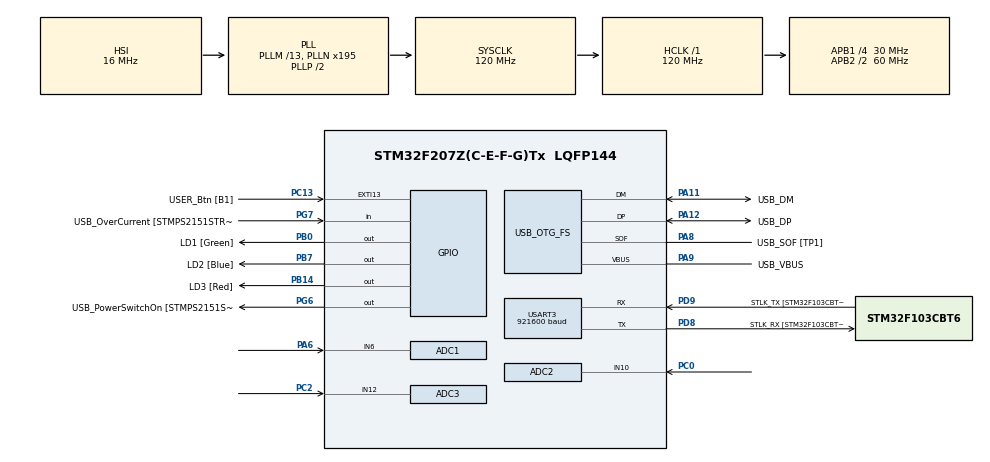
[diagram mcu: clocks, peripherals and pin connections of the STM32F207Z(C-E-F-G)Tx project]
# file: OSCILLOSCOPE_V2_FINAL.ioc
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ADC1.Channel-0\#ChannelRegularConversion=ADC_CHANNEL_6
ADC1.DMAContinuousRequests=ENABLE
ADC1.ExternalTrigConv=ADC_EXTERNALTRIGCONV_T2_TRGO
ADC1.Mode=ADC_TRIPLEMODE_REGSIMULT
ADC1.NbrOfConversionFlag=1
ADC1.Rank-0\#ChannelRegularConversion=1
ADC1.Resolution=ADC_RESOLUTION_12B
ADC1.SamplingTime-0\#ChannelRegularConversion=ADC_SAMPLETIME_3CYCLES
ADC1.master=1
ADC2.Channel-0\#ChannelRegularConversion=ADC_CHANNEL_10
ADC2.DMAAccessMode=ADC_DMAACCESSMODE_1
ADC2.Mode=ADC_TRIPLEMODE_REGSIMULT
ADC2.NbrOfConversionFlag=1
ADC2.Rank-0\#ChannelRegularConversion=1
ADC2.SamplingTime-0\#ChannelRegularConversion=ADC_SAMPLETIME_3CYCLES
ADC3.Channel-0\#ChannelRegularConversion=ADC_CHANNEL_12
ADC3.DMAAccessMode=ADC_DMAACCESSMODE_1
ADC3.Mode=ADC_TRIPLEMODE_REGSIMULT
ADC3.NbrOfConversionFlag=1
ADC3.Rank-0\#ChannelRegularConversion=1
ADC3.SamplingTime-0\#ChannelRegularConversion=ADC_SAMPLETIME_3CYCLES
Dma.ADC1.0.Direction=DMA_PERIPH_TO_MEMORY
Dma.ADC1.0.FIFOMode=DMA_FIFOMODE_DISABLE
Dma.ADC1.0.Instance=DMA2_Stream0
Dma.ADC1.0.MemDataAlignment=DMA_MDATAALIGN_HALFWORD
Dma.ADC1.0.MemInc=DMA_MINC_ENABLE
Dma.ADC1.0.Mode=DMA_CIRCULAR
Dma.ADC1.0.PeriphDataAlignment=DMA_PDATAALIGN_HALFWORD
Dma.ADC1.0.PeriphInc=DMA_PINC_DISABLE
Dma.ADC1.0.Priority=DMA_PRIORITY_LOW
Dma.Request0=ADC1
Dma.Request1=USART3_TX
Dma.USART3_TX.1.Direction=DMA_MEMORY_TO_PERIPH
Dma.USART3_TX.1.FIFOMode=DMA_FIFOMODE_DISABLE
Dma.USART3_TX.1.Instance=DMA1_Stream3
Dma.USART3_TX.1.MemDataAlignment=DMA_MDATAALIGN_BYTE
Dma.USART3_TX.1.MemInc=DMA_MINC_ENABLE
Dma.USART3_TX.1.Mode=DMA_NORMAL
Dma.USART3_TX.1.PeriphDataAlignment=DMA_PDATAALIGN_BYTE
Dma.USART3_TX.1.PeriphInc=DMA_PINC_DISABLE
Dma.USART3_TX.1.Priority=DMA_PRIORITY_LOW
Mcu.Family=STM32F2
Mcu.Name=STM32F207Z(C-E-F-G)Tx
Mcu.Package=LQFP144
NVIC.DMA1_Stream3_IRQn=true\:0\:0\:false\:false\:true\:false\:true\:true
NVIC.DMA2_Stream0_IRQn=true\:0\:0\:false\:false\:true\:false\:true\:true
NVIC.PriorityGroup=NVIC_PRIORITYGROUP_4
NVIC.USART3_IRQn=true\:0\:0\:false\:false\:true\:true\:true\:true
PA1.GPIO_Label=RMII_REF_CLK [LAN8742A-CZ-TR_REFCLK0]
PA1.Signal=ETH_REF_CLK
PA10.GPIO_Label=USB_ID
PA10.Signal=USB_OTG_FS_ID
PA11.GPIO_Label=USB_DM
PA11.Mode=Device_Only
PA11.Signal=USB_OTG_FS_DM
PA12.GPIO_Label=USB_DP
PA12.Mode=Device_Only
PA12.Signal=USB_OTG_FS_DP
PA13.GPIO_Label=TMS
PA13.Mode=Serial_Wire
PA13.Signal=SYS_JTMS-SWDIO
PA14.GPIO_Label=TCK
PA14.Mode=Serial_Wire
PA14.Signal=SYS_JTCK-SWCLK
PA2.GPIO_Label=RMII_MDIO [LAN8742A-CZ-TR_MDIO]
PA2.Signal=ETH_MDIO
PA6.Signal=ADCx_IN6
PA7.GPIO_Label=RMII_CRS_DV [LAN8742A-CZ-TR_CRS_DV]
PA7.Signal=ETH_CRS_DV
PA8.GPIO_Label=USB_SOF [TP1]
PA8.Mode=Activate_SOF_FS
PA8.Signal=USB_OTG_FS_SOF
PA9.GPIO_Label=USB_VBUS
PA9.Mode=Activate_VBUS
PA9.Signal=USB_OTG_FS_VBUS
PB0.GPIO_Label=LD1 [Green]
PB0.Signal=GPIO_Output
PB13.GPIO_Label=RMII_TXD1 [LAN8742A-CZ-TR_TXD1]
PB13.Signal=ETH_TXD1
PB14.GPIO_Label=LD3 [Red]
PB14.Signal=GPIO_Output
PB3.GPIO_Label=SWO
PB3.Signal=SYS_JTDO-SWO
PB7.GPIO_Label=LD2 [Blue]
PB7.Signal=GPIO_Output
PC0.Signal=ADCx_IN10
PC1.GPIO_Label=RMII_MDC [LAN8742A-CZ-TR_MDC]
PC1.Signal=ETH_MDC
PC13.GPIO_Label=USER_Btn [B1]
PC13.Signal=GPXTI13
PC14-OSC32_IN.Mode=LSE-External-Oscillator
PC14-OSC32_IN.Signal=RCC_OSC32_IN
PC15-OSC32_OUT.Mode=LSE-External-Oscillator
PC15-OSC32_OUT.Signal=RCC_OSC32_OUT
PC2.Signal=ADCx_IN12
PC4.GPIO_Label=RMII_RXD0 [LAN8742A-CZ-TR_RXD0]
PC4.Signal=ETH_RXD0
PC5.GPIO_Label=RMII_RXD1 [LAN8742A-CZ-TR_RXD1]
PC5.Signal=ETH_RXD1
PD8.GPIO_Label=STLK_RX [STM32F103CBT6_PA2]
PD8.Mode=Asynchronous
PD8.Signal=USART3_TX
PD9.GPIO_Label=STLK_TX [STM32F103CBT6_PA3]
PD9.Mode=Asynchronous
PD9.Signal=USART3_RX
PG11.GPIO_Label=RMII_TX_EN [LAN8742A-CZ-TR_TXEN]
PG11.Signal=ETH_TX_EN
PG13.GPIO_Label=RMII_TXD0 [LAN8742A-CZ-TR_TXD0]
PG13.Signal=ETH_TXD0
PG6.GPIO_Label=USB_PowerSwitchOn [STMPS2151STR_EN]
PG6.Signal=GPIO_Output
PG7.GPIO_Label=USB_OverCurrent [STMPS2151STR_FAULT]
PG7.Signal=GPIO_Input
PH0-OSC_IN.GPIO_Label=MCO [STM32F103CBT6_PA8]
PH0-OSC_IN.Mode=HSE-External-Clock-Source
PH0-OSC_IN.Signal=RCC_OSC_IN
PH1-OSC_OUT.Mode=HSE-External-Clock-Source
PH1-OSC_OUT.Signal=RCC_OSC_OUT
ProjectManager.HeapSize=0x200
ProjectManager.StackSize=0x400
ProjectManager.TargetToolchain=STM32CubeIDE
RCC.48MHZClocksFreq_Value=48000000
RCC.AHBFreq_Value=120000000
RCC.APB1CLKDivider=RCC_HCLK_DIV4
RCC.APB1Freq_Value=30000000
RCC.APB1TimFreq_Value=60000000
RCC.APB2CLKDivider=RCC_HCLK_DIV2
RCC.APB2Freq_Value=60000000
RCC.APB2TimFreq_Value=120000000
RCC.CortexFreq_Value=120000000
RCC.HCLKFreq_Value=120000000
RCC.HSE_VALUE=8000000
RCC.HSI_VALUE=16000000
RCC.PLLM=13
RCC.PLLMUL=RCC_PLL_MUL9
RCC.PLLN=195
RCC.PLLQ=5
RCC.PRESCALERUSB=RCC_USBCLKSOURCE_PLL_DIV1_5
RCC.SYSCLKFreq_VALUE=120000000
RCC.SYSCLKSource=RCC_SYSCLKSOURCE_PLLCLK
RCC.SYSCLKSourceVirtual=RCC_SYSCLKSOURCE_PLLCLK
RCC.USBFreq_Value=48000000
RCC.VCOOutputFreq_Value=240000000
SH.ADCx_IN10.0=ADC2_IN10,IN10
SH.ADCx_IN12.0=ADC3_IN12,IN12
SH.ADCx_IN6.0=ADC1_IN6,IN6
TIM2.Period=29
TIM2.TIM_MasterOutputTrigger=TIM_TRGO_UPDATE
USART3.BaudRate=921600
USART3.VirtualMode=VM_ASYNC
USB_OTG_FS.VirtualMode=Device_Only
VP_TIM2_VS_ClockSourceINT.Mode=Internal
board=NUCLEO-F207ZG

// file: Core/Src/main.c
/* USER CODE BEGIN Header */
/**
  ******************************************************************************
  * @file           : main.c
  * @brief          : Main program body
  ******************************************************************************
  * @attention
  *
  * Copyright (c) 2026 STMicroelectronics.
  * All rights reserved.
  *
  * This software is licensed under terms that can be found in the LICENSE file
  * in the root directory of this software component.
  * If no LICENSE file comes with this software, it is provided AS-IS.
  *
  ******************************************************************************
  */
/* USER CODE END Header */
#include "main.h"

/* USER CODE BEGIN PD */

#define ADC_BUFFER_SIZE 	8192
#define SAMPLES_PER_ADC    	1024
#define TRIGGER_LEVEL 		700
#define PRE_TRIGGER 		256
#define TRIGGER_HYST    	20
#define CHANNELS 			3
#define TRIGGER_CHANNEL 	1

#define TIM_CLOCK 			60000000
#define TOTAL_BUFFER_SIZE 	(ADC_BUFFER_SIZE * CHANNELS)
#define TOTAL_DATA_SENT 	(2 * SAMPLES_PER_ADC * CHANNELS + 3)

#define TIME_0_5MS   0x01
#define TIME_5MS     0x02
#define TIME_50MS    0x03
#define TIME_500MS   0x04
#define TIME_5S      0x05
//#define TIME_50S     0x06

/* USER CODE END PD */

ADC_HandleTypeDef hadc1;
ADC_HandleTypeDef hadc2;
ADC_HandleTypeDef hadc3;
DMA_HandleTypeDef hdma_adc1;

TIM_HandleTypeDef htim2;

UART_HandleTypeDef huart3;
DMA_HandleTypeDef hdma_usart3_tx;

PCD_HandleTypeDef hpcd_USB_OTG_FS;

/* USER CODE BEGIN PV */
uint16_t adcBuffer[TOTAL_BUFFER_SIZE];
uint16_t adc1Buffer[ADC_BUFFER_SIZE];
uint16_t adc2Buffer[ADC_BUFFER_SIZE];
uint16_t adc3Buffer[ADC_BUFFER_SIZE];

uint8_t uartBuffer[TOTAL_DATA_SENT];
uint8_t rxByte;

volatile uint8_t adcReady = 0;
volatile uint8_t adcBlock = 0;
volatile uint8_t uartBusy = 0;
volatile uint8_t currentTimeWindow = TIME_0_5MS;

/* USER CODE END PV */

void SystemClock_Config(void);
static void MX_GPIO_Init(void);
static void MX_DMA_Init(void);
static void MX_USART3_UART_Init(void);
static void MX_USB_OTG_FS_PCD_Init(void);
static void MX_ADC1_Init(void);
static void MX_TIM2_Init(void);
static void MX_ADC2_Init(void);
static void MX_ADC3_Init(void);
/* USER CODE BEGIN PFP */

int Find_Trigger(uint8_t block);
void Send_ADC_Buffer(int trigger);
void Separate_ADC_Buffers(uint8_t block);
void Set_Sample_Rate(void);

/* USER CODE END PFP */

int main(void)
{

  /* MCU Configuration--------------------------------------------------------*/

  /* Reset of all peripherals, Initializes the Flash interface and the Systick. */
  HAL_Init();

  /* Configure the system clock */
  SystemClock_Config();

  /* Initialize all configured peripherals */
  MX_GPIO_Init();
  MX_DMA_Init();
  MX_USART3_UART_Init();
  MX_USB_OTG_FS_PCD_Init();
  MX_ADC1_Init();
  MX_TIM2_Init();
  MX_ADC2_Init();
  MX_ADC3_Init();
  /* USER CODE BEGIN 2 */
  HAL_UART_Receive_IT(&huart3, &rxByte, 1);
  HAL_ADC_Start(&hadc3);
  HAL_ADC_Start(&hadc2);
  Set_Sample_Rate();
  HAL_ADCEx_MultiModeStart_DMA(&hadc1,
  								   (uint32_t *)adcBuffer,
								   TOTAL_BUFFER_SIZE);
  HAL_TIM_Base_Start(&htim2);

  /* USER CODE END 2 */

  /* Infinite loop */
  /* USER CODE BEGIN WHILE */
  while (1)
  {
	  if (adcReady)
	  {
	      adcReady = 0;
	      uint8_t block = adcBlock;

	      Separate_ADC_Buffers(block);

	      int trigger = Find_Trigger(block);

	      if (trigger >= 0)
	      {
	          Send_ADC_Buffer(trigger);
	      }

	      static uint32_t led_timer = 0;
	      if (HAL_GetTick() - led_timer >= 500)
	      {
	          led_timer = HAL_GetTick();
	          HAL_GPIO_TogglePin(LD1_GPIO_Port, LD1_Pin);
	      }
	  }
    /* USER CODE END WHILE */

  }
}

void SystemClock_Config(void)
{
  RCC_OscInitTypeDef RCC_OscInitStruct = {0};
  RCC_ClkInitTypeDef RCC_ClkInitStruct = {0};

  /** Initializes the RCC Oscillators according to the specified parameters
  * in the RCC_OscInitTypeDef structure.
  */
  RCC_OscInitStruct.OscillatorType = RCC_OSCILLATORTYPE_HSI;
  RCC_OscInitStruct.HSIState = RCC_HSI_ON;
  RCC_OscInitStruct.HSICalibrationValue = RCC_HSICALIBRATION_DEFAULT;
  RCC_OscInitStruct.PLL.PLLState = RCC_PLL_ON;
  RCC_OscInitStruct.PLL.PLLSource = RCC_PLLSOURCE_HSI;
  RCC_OscInitStruct.PLL.PLLM = 13;
  RCC_OscInitStruct.PLL.PLLN = 195;
  RCC_OscInitStruct.PLL.PLLP = RCC_PLLP_DIV2;
  RCC_OscInitStruct.PLL.PLLQ = 5;
  if (HAL_RCC_OscConfig(&RCC_OscInitStruct) != HAL_OK)
  {
    Error_Handler();
  }

  /** Initializes the CPU, AHB and APB buses clocks
  */
  RCC_ClkInitStruct.ClockType = RCC_CLOCKTYPE_HCLK|RCC_CLOCKTYPE_SYSCLK
                              |RCC_CLOCKTYPE_PCLK1|RCC_CLOCKTYPE_PCLK2;
  RCC_ClkInitStruct.SYSCLKSource = RCC_SYSCLKSOURCE_PLLCLK;
  RCC_ClkInitStruct.AHBCLKDivider = RCC_SYSCLK_DIV1;
  RCC_ClkInitStruct.APB1CLKDivider = RCC_HCLK_DIV4;
  RCC_ClkInitStruct.APB2CLKDivider = RCC_HCLK_DIV2;

  if (HAL_RCC_ClockConfig(&RCC_ClkInitStruct, FLASH_LATENCY_3) != HAL_OK)
  {
    Error_Handler();
  }
}

static void MX_ADC1_Init(void)
{

  ADC_MultiModeTypeDef multimode = {0};
  ADC_ChannelConfTypeDef sConfig = {0};

  /** Configure the global features of the ADC (Clock, Resolution, Data Alignment and number of conversion)
  */
  hadc1.Instance = ADC1;
  hadc1.Init.ClockPrescaler = ADC_CLOCK_SYNC_PCLK_DIV2;
  hadc1.Init.Resolution = ADC_RESOLUTION_12B;
  hadc1.Init.ScanConvMode = DISABLE;
  hadc1.Init.ContinuousConvMode = DISABLE;
  hadc1.Init.DiscontinuousConvMode = DISABLE;
  hadc1.Init.ExternalTrigConvEdge = ADC_EXTERNALTRIGCONVEDGE_RISING;
  hadc1.Init.ExternalTrigConv = ADC_EXTERNALTRIGCONV_T2_TRGO;
  hadc1.Init.DataAlign = ADC_DATAALIGN_RIGHT;
  hadc1.Init.NbrOfConversion = 1;
  hadc1.Init.DMAContinuousRequests = ENABLE;
  hadc1.Init.EOCSelection = ADC_EOC_SINGLE_CONV;
  if (HAL_ADC_Init(&hadc1) != HAL_OK)
  {
    Error_Handler();
  }

  /** Configure the ADC multi-mode
  */
  multimode.Mode = ADC_TRIPLEMODE_REGSIMULT;
  multimode.DMAAccessMode = ADC_DMAACCESSMODE_1;
  multimode.TwoSamplingDelay = ADC_TWOSAMPLINGDELAY_5CYCLES;
  if (HAL_ADCEx_MultiModeConfigChannel(&hadc1, &multimode) != HAL_OK)
  {
    Error_Handler();
  }

  /** Configure for the selected ADC regular channel its corresponding rank in the sequencer and its sample time.
  */
  sConfig.Channel = ADC_CHANNEL_6;
  sConfig.Rank = 1;
  sConfig.SamplingTime = ADC_SAMPLETIME_3CYCLES;
  if (HAL_ADC_ConfigChannel(&hadc1, &sConfig) != HAL_OK)
  {
    Error_Handler();
  }

}

static void MX_ADC2_Init(void)
{

  ADC_ChannelConfTypeDef sConfig = {0};

  /** Configure the global features of the ADC (Clock, Resolution, Data Alignment and number of conversion)
  */
  hadc2.Instance = ADC2;
  hadc2.Init.ClockPrescaler = ADC_CLOCK_SYNC_PCLK_DIV2;
  hadc2.Init.Resolution = ADC_RESOLUTION_12B;
  hadc2.Init.ScanConvMode = DISABLE;
  hadc2.Init.ContinuousConvMode = DISABLE;
  hadc2.Init.DiscontinuousConvMode = DISABLE;
  hadc2.Init.DataAlign = ADC_DATAALIGN_RIGHT;
  hadc2.Init.NbrOfConversion = 1;
  hadc2.Init.DMAContinuousRequests = DISABLE;
  hadc2.Init.EOCSelection = ADC_EOC_SINGLE_CONV;
  if (HAL_ADC_Init(&hadc2) != HAL_OK)
  {
    Error_Handler();
  }

  /** Configure for the selected ADC regular channel its corresponding rank in the sequencer and its sample time.
  */
  sConfig.Channel = ADC_CHANNEL_10;
  sConfig.Rank = 1;
  sConfig.SamplingTime = ADC_SAMPLETIME_3CYCLES;
  if (HAL_ADC_ConfigChannel(&hadc2, &sConfig) != HAL_OK)
  {
    Error_Handler();
  }

}

static void MX_ADC3_Init(void)
{

  ADC_ChannelConfTypeDef sConfig = {0};

  /** Configure the global features of the ADC (Clock, Resolution, Data Alignment and number of conversion)
  */
  hadc3.Instance = ADC3;
  hadc3.Init.ClockPrescaler = ADC_CLOCK_SYNC_PCLK_DIV2;
  hadc3.Init.Resolution = ADC_RESOLUTION_12B;
  hadc3.Init.ScanConvMode = DISABLE;
  hadc3.Init.ContinuousConvMode = DISABLE;
  hadc3.Init.DiscontinuousConvMode = DISABLE;
  hadc3.Init.DataAlign = ADC_DATAALIGN_RIGHT;
  hadc3.Init.NbrOfConversion = 1;
  hadc3.Init.DMAContinuousRequests = DISABLE;
  hadc3.Init.EOCSelection = ADC_EOC_SINGLE_CONV;
  if (HAL_ADC_Init(&hadc3) != HAL_OK)
  {
    Error_Handler();
  }

  /** Configure for the selected ADC regular channel its corresponding rank in the sequencer and its sample time.
  */
  sConfig.Channel = ADC_CHANNEL_12;
  sConfig.Rank = 1;
  sConfig.SamplingTime = ADC_SAMPLETIME_3CYCLES;
  if (HAL_ADC_ConfigChannel(&hadc3, &sConfig) != HAL_OK)
  {
    Error_Handler();
  }

}

static void MX_TIM2_Init(void)
{

  TIM_ClockConfigTypeDef sClockSourceConfig = {0};
  TIM_MasterConfigTypeDef sMasterConfig = {0};

  htim2.Instance = TIM2;
  htim2.Init.Prescaler = 0;
  htim2.Init.CounterMode = TIM_COUNTERMODE_UP;
  htim2.Init.Period = 29;
  htim2.Init.ClockDivision = TIM_CLOCKDIVISION_DIV1;
  htim2.Init.AutoReloadPreload = TIM_AUTORELOAD_PRELOAD_DISABLE;
  if (HAL_TIM_Base_Init(&htim2) != HAL_OK)
  {
    Error_Handler();
  }
  sClockSourceConfig.ClockSource = TIM_CLOCKSOURCE_INTERNAL;
  if (HAL_TIM_ConfigClockSource(&htim2, &sClockSourceConfig) != HAL_OK)
  {
    Error_Handler();
  }
  sMasterConfig.MasterOutputTrigger = TIM_TRGO_UPDATE;
  sMasterConfig.MasterSlaveMode = TIM_MASTERSLAVEMODE_DISABLE;
  if (HAL_TIMEx_MasterConfigSynchronization(&htim2, &sMasterConfig) != HAL_OK)
  {
    Error_Handler();
  }

}

static void MX_USART3_UART_Init(void)
{

  huart3.Instance = USART3;
  huart3.Init.BaudRate = 921600;
  huart3.Init.WordLength = UART_WORDLENGTH_8B;
  huart3.Init.StopBits = UART_STOPBITS_1;
  huart3.Init.Parity = UART_PARITY_NONE;
  huart3.Init.Mode = UART_MODE_TX_RX;
  huart3.Init.HwFlowCtl = UART_HWCONTROL_NONE;
  huart3.Init.OverSampling = UART_OVERSAMPLING_16;
  if (HAL_UART_Init(&huart3) != HAL_OK)
  {
    Error_Handler();
  }

}

static void MX_USB_OTG_FS_PCD_Init(void)
{

  hpcd_USB_OTG_FS.Instance = USB_OTG_FS;
  hpcd_USB_OTG_FS.Init.dev_endpoints = 4;
  hpcd_USB_OTG_FS.Init.speed = PCD_SPEED_FULL;
  hpcd_USB_OTG_FS.Init.dma_enable = DISABLE;
  hpcd_USB_OTG_FS.Init.phy_itface = PCD_PHY_EMBEDDED;
  hpcd_USB_OTG_FS.Init.Sof_enable = ENABLE;
  hpcd_USB_OTG_FS.Init.low_power_enable = DISABLE;
  hpcd_USB_OTG_FS.Init.vbus_sensing_enable = ENABLE;
  hpcd_USB_OTG_FS.Init.use_dedicated_ep1 = DISABLE;
  if (HAL_PCD_Init(&hpcd_USB_OTG_FS) != HAL_OK)
  {
    Error_Handler();
  }

}

static void MX_DMA_Init(void)
{

  /* DMA controller clock enable */
  __HAL_RCC_DMA2_CLK_ENABLE();
  __HAL_RCC_DMA1_CLK_ENABLE();

  /* DMA interrupt init */
  /* DMA1_Stream3_IRQn interrupt configuration */
  HAL_NVIC_SetPriority(DMA1_Stream3_IRQn, 0, 0);
  HAL_NVIC_EnableIRQ(DMA1_Stream3_IRQn);
  /* DMA2_Stream0_IRQn interrupt configuration */
  HAL_NVIC_SetPriority(DMA2_Stream0_IRQn, 0, 0);
  HAL_NVIC_EnableIRQ(DMA2_Stream0_IRQn);

}

static void MX_GPIO_Init(void)
{
  GPIO_InitTypeDef GPIO_InitStruct = {0};

  /* GPIO Ports Clock Enable */
  __HAL_RCC_GPIOC_CLK_ENABLE();
  __HAL_RCC_GPIOH_CLK_ENABLE();
  __HAL_RCC_GPIOA_CLK_ENABLE();
  __HAL_RCC_GPIOB_CLK_ENABLE();
  __HAL_RCC_GPIOD_CLK_ENABLE();
  __HAL_RCC_GPIOG_CLK_ENABLE();

  /*Configure GPIO pin Output Level */
  HAL_GPIO_WritePin(GPIOB, LD1_Pin|LD3_Pin|LD2_Pin, GPIO_PIN_RESET);

  /*Configure GPIO pin Output Level */
  HAL_GPIO_WritePin(USB_PowerSwitchOn_GPIO_Port, USB_PowerSwitchOn_Pin, GPIO_PIN_RESET);

  /*Configure GPIO pin : USER_Btn_Pin */
  GPIO_InitStruct.Pin = USER_Btn_Pin;
  GPIO_InitStruct.Mode = GPIO_MODE_IT_RISING;
  GPIO_InitStruct.Pull = GPIO_NOPULL;
  HAL_GPIO_Init(USER_Btn_GPIO_Port, &GPIO_InitStruct);

  /*Configure GPIO pins : RMII_MDC_Pin RMII_RXD0_Pin RMII_RXD1_Pin */
  GPIO_InitStruct.Pin = RMII_MDC_Pin|RMII_RXD0_Pin|RMII_RXD1_Pin;
  GPIO_InitStruct.Mode = GPIO_MODE_AF_PP;
  GPIO_InitStruct.Pull = GPIO_NOPULL;
  GPIO_InitStruct.Speed = GPIO_SPEED_FREQ_VERY_HIGH;
  GPIO_InitStruct.Alternate = GPIO_AF11_ETH;
  HAL_GPIO_Init(GPIOC, &GPIO_InitStruct);

  /*Configure GPIO pins : RMII_REF_CLK_Pin RMII_MDIO_Pin RMII_CRS_DV_Pin */
  GPIO_InitStruct.Pin = RMII_REF_CLK_Pin|RMII_MDIO_Pin|RMII_CRS_DV_Pin;
  GPIO_InitStruct.Mode = GPIO_MODE_AF_PP;
  GPIO_InitStruct.Pull = GPIO_NOPULL;
  GPIO_InitStruct.Speed = GPIO_SPEED_FREQ_VERY_HIGH;
  GPIO_InitStruct.Alternate = GPIO_AF11_ETH;
  HAL_GPIO_Init(GPIOA, &GPIO_InitStruct);

  /*Configure GPIO pins : LD1_Pin LD3_Pin LD2_Pin */
  GPIO_InitStruct.Pin = LD1_Pin|LD3_Pin|LD2_Pin;
  GPIO_InitStruct.Mode = GPIO_MODE_OUTPUT_PP;
  GPIO_InitStruct.Pull = GPIO_NOPULL;
  GPIO_InitStruct.Speed = GPIO_SPEED_FREQ_LOW;
  HAL_GPIO_Init(GPIOB, &GPIO_InitStruct);

  /*Configure GPIO pin : RMII_TXD1_Pin */
  GPIO_InitStruct.Pin = RMII_TXD1_Pin;
  GPIO_InitStruct.Mode = GPIO_MODE_AF_PP;
  GPIO_InitStruct.Pull = GPIO_NOPULL;
  GPIO_InitStruct.Speed = GPIO_SPEED_FREQ_VERY_HIGH;
  GPIO_InitStruct.Alternate = GPIO_AF11_ETH;
  HAL_GPIO_Init(RMII_TXD1_GPIO_Port, &GPIO_InitStruct);

  /*Configure GPIO pin : USB_PowerSwitchOn_Pin */
  GPIO_InitStruct.Pin = USB_PowerSwitchOn_Pin;
  GPIO_InitStruct.Mode = GPIO_MODE_OUTPUT_PP;
  GPIO_InitStruct.Pull = GPIO_NOPULL;
  GPIO_InitStruct.Speed = GPIO_SPEED_FREQ_LOW;
  HAL_GPIO_Init(USB_PowerSwitchOn_GPIO_Port, &GPIO_InitStruct);

  /*Configure GPIO pin : USB_OverCurrent_Pin */
  GPIO_InitStruct.Pin = USB_OverCurrent_Pin;
  GPIO_InitStruct.Mode = GPIO_MODE_INPUT;
  GPIO_InitStruct.Pull = GPIO_NOPULL;
  HAL_GPIO_Init(USB_OverCurrent_GPIO_Port, &GPIO_InitStruct);

  /*Configure GPIO pins : RMII_TX_EN_Pin RMII_TXD0_Pin */
  GPIO_InitStruct.Pin = RMII_TX_EN_Pin|RMII_TXD0_Pin;
  GPIO_InitStruct.Mode = GPIO_MODE_AF_PP;
  GPIO_InitStruct.Pull = GPIO_NOPULL;
  GPIO_InitStruct.Speed = GPIO_SPEED_FREQ_VERY_HIGH;
  GPIO_InitStruct.Alternate = GPIO_AF11_ETH;
  HAL_GPIO_Init(GPIOG, &GPIO_InitStruct);

}

/* USER CODE BEGIN 4 */
int Find_Trigger(uint8_t block)
{
    int half_start = block ? (ADC_BUFFER_SIZE / 2) : 0;
    int search_end = ADC_BUFFER_SIZE / 2 - (SAMPLES_PER_ADC - PRE_TRIGGER);

    static uint8_t armed = 1;

    for (int i = PRE_TRIGGER + 1; i < search_end; i++)
    {
        int index = half_start + i;

        uint16_t prev;
        uint16_t sample;

        if (TRIGGER_CHANNEL == 1)
        {
            prev   = adc1Buffer[index - 1];
            sample = adc1Buffer[index];
        }
        else if (TRIGGER_CHANNEL == 2)
        {
            prev   = adc2Buffer[index - 1];
            sample = adc2Buffer[index];
        }
        else
        {
            prev   = adc3Buffer[index - 1];
            sample = adc3Buffer[index];
        }

        if (!armed)
        {
            if (sample < (TRIGGER_LEVEL - TRIGGER_HYST))
                armed = 1;
        }
        else
        {
            if (prev < TRIGGER_LEVEL && sample >= TRIGGER_LEVEL)
            {
                armed = 0;
                return index;
            }
        }
    }

    return -1;
}

void Send_ADC_Buffer(int trigger)
{
    if (uartBusy)
        return;

    int start = trigger - PRE_TRIGGER;

    if (start < 0)
        start += ADC_BUFFER_SIZE;

    /* Header */
    uartBuffer[0] = 0xAA;
    uartBuffer[1] = 0x55;
    uartBuffer[2] = currentTimeWindow;

    //ADC1
    int offset = 3;

    for (int i = 0; i < SAMPLES_PER_ADC; i++)
    {
        int index = start + i;

        if (index >= ADC_BUFFER_SIZE)
            index -= ADC_BUFFER_SIZE;

        uint16_t value = adc1Buffer[index];

        uartBuffer[offset + i * 2]     = value & 0xFF;
        uartBuffer[offset + i * 2 + 1] = value >> 8;
    }

    //ADC2
    offset += SAMPLES_PER_ADC * 2;

    for (int i = 0; i < SAMPLES_PER_ADC; i++)
    {
        int index = start + i;

        if (index >= ADC_BUFFER_SIZE)
            index -= ADC_BUFFER_SIZE;

        uint16_t value = adc2Buffer[index];

        uartBuffer[offset + i * 2]     = value & 0xFF;
        uartBuffer[offset + i * 2 + 1] = value >> 8;
    }

    //ADC3
    offset += SAMPLES_PER_ADC * 2;

    for (int i = 0; i < SAMPLES_PER_ADC; i++)
    {
        int index = start + i;

        if (index >= ADC_BUFFER_SIZE)
            index -= ADC_BUFFER_SIZE;

        uint16_t value = adc3Buffer[index];

        uartBuffer[offset + i * 2]     = value & 0xFF;
        uartBuffer[offset + i * 2 + 1] = value >> 8;
    }

    //UART DMA
    uartBusy = 1;

    HAL_UART_Transmit_DMA(
        &huart3,
        uartBuffer,
        TOTAL_DATA_SENT
    );
}

void Separate_ADC_Buffers(uint8_t block)
{
    int raw_offset = block ? (TOTAL_BUFFER_SIZE / 2) : 0;
    int raw_count  = TOTAL_BUFFER_SIZE / 2;
    int ch_offset  = block ? (ADC_BUFFER_SIZE / 2) : 0;

    for (int i = 0; i < raw_count; i += 3)
    {
        int dst = ch_offset + i / 3;
        adc1Buffer[dst] = adcBuffer[raw_offset + i];
        adc2Buffer[dst] = adcBuffer[raw_offset + i + 1];
        adc3Buffer[dst] = adcBuffer[raw_offset + i + 2];
    }
}

	void Set_Sample_Rate(void)
{
	uint32_t sample_Rate;
	switch (currentTimeWindow)
	    {
	        case TIME_0_5MS:
	        	sample_Rate = 2000000;
	        	break;

	        case TIME_5MS:
	        	sample_Rate = 200000;
	        	break;

	        case TIME_50MS:
	        	sample_Rate = 20000;
	        	break;

	        case TIME_500MS:
	        	sample_Rate = 2000;
	        	break;

	        case TIME_5S:
	        	sample_Rate = 204;
	        	break;

	        default:
	        	sample_Rate = 2000000;
	        	break;

	    }

    uint32_t period = (TIM_CLOCK / sample_Rate) - 1;

    __HAL_TIM_SET_AUTORELOAD(&htim2, period);
}

void HAL_ADC_ConvHalfCpltCallback(ADC_HandleTypeDef *hadc)
{
    if(hadc->Instance == ADC1)
    {
        adcBlock = 0;
        adcReady = 1;
    }
}

void HAL_ADC_ConvCpltCallback(ADC_HandleTypeDef *hadc)
{
    if(hadc->Instance == ADC1)
    {
        adcBlock = 1;
        adcReady = 1;
    }
}
void HAL_UART_TxCpltCallback(UART_HandleTypeDef *huart)
{
    if (huart->Instance == USART3)
    {
        uartBusy = 0;
    }
}
void HAL_UART_RxCpltCallback(UART_HandleTypeDef *huart)
{
    if (huart->Instance == USART3)
    {
        if (rxByte >= TIME_0_5MS && rxByte <= TIME_5S)
        {
            currentTimeWindow = rxByte;
            Set_Sample_Rate();
        }
        HAL_UART_Receive_IT(&huart3, &rxByte, 1);
    }
}
/* USER CODE END 4 */

void Error_Handler(void)
{
  /* USER CODE BEGIN Error_Handler_Debug */
	HAL_GPIO_WritePin(LD3_GPIO_Port,
	                      LD3_Pin,
	                      GPIO_PIN_SET);
  /* User can add his own implementation to report the HAL error return state */
  __disable_irq();
  while (1)
  {
  }
  /* USER CODE END Error_Handler_Debug */
}
